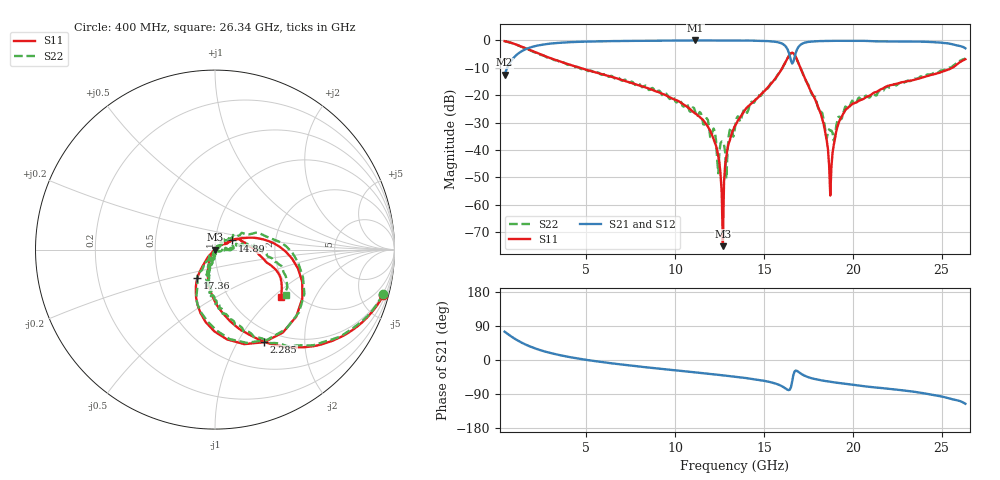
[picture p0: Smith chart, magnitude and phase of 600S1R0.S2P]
!  American Technical Ceramics  Date:  10/27/06
!  One Norden Lane
!  Huntington Station,  NY.  11746-2102
!  Tel:  (631) 622-4700  Fax:  (631) 622-4748
!  Part Number  600S1R0  Mounting Orientation: Horizontal
!  Description: Ultra Low ESR Microwave capacitors
!  Application: Coupling, Bypass, Tuning, DC Block
!  Filters, Matching
# GHZ S DB R 50
! Freq  |S11|  S11 Ph  |S21|  S21 Ph  |S12|  S12 Ph  |S22|  S22 Ph
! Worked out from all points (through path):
!   400 points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, 400 MHz to 26.34 GHz, reference 50 ohm
!   highest |S21| = 0.00 dB at 11.12 GHz (marker M1); lowest = -12.6 dB at 400 MHz (marker M2)
!   group delay of S21, straight-line fit = 14.4 ps
!   lowest |S11| = -75.1 dB at 12.69 GHz (marker M3), VSWR 1.00, Z = 50 + j0.0127 ohm
!   |S11| at or under -10 dB: 4.641 GHz to 16.03 GHz (11.39 GHz wide, 110 % of centre); 17.05 GHz to 25.59 GHz (8.539 GHz wide, 40.1 % of centre)
!   |S22| runs from -50.4 to -0.3 dB; largest |S21 - S12| = 0.011
!   S11 on the Smith chart (normalised r, x): 400 MHz: 0.83, -7.50; 2.285 GHz: 0.84, -1.29; 14.89 GHz: 1.20, +0.13; 17.36 GHz: 0.79, -0.25; 26.34 GHz: 1.70, -1.13
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0.4  -0.25 -15.0  -12.55 74.7  -12.52 74.3  -0.28 -14.8
2.285  -4.73 -62.1  -1.82 27.9  -1.84 27.6  -4.79 -61.0
4.755  -10.24 -88.2  -0.46 2.1  -0.45 2.3  -10.47 -88.8
9.045  -18.83 -109.7  -0.08 -22.5  -0.07 -22.4  -18.36 -111.2
11.125  -26.64 -118.8  0.00 -32.6  -0.01 -32.7  -25.89 -93.8
12.36  -39.95 -125.7  -0.01 -38.8  -0.01 -39.0  -43.14 -42.4
12.62  -55.66 -132.4  -0.01 -40.2  -0.01 -40.3  -36.92 -42.0
12.685  -75.13 133.7  -0.01 -40.5  -0.01 -40.7  -37.11 -4.0
12.815  -45.46 56.3  0.00 -41.2  -0.01 -41.4  -40.93 63.8
12.88  -42.43 53.6  0.00 -41.5  -0.01 -41.7  -50.43 50.3
13.01  -37.61 52.7  -0.01 -42.3  0.00 -42.4  -35.03 11.8
13.4  -30.81 44.1  -0.02 -44.5  -0.03 -44.6  -30.10 31.6
14.895  -19.28 28.2  -0.16 -54.0  -0.14 -54.3  -19.53 36.1
16.585  -4.48 -50.7  -8.43 -56.8  -8.43 -56.9  -4.53 -48.2
17.365  -14.70 -122.0  -0.69 -43.1  -0.67 -43.5  -14.86 -122.7
17.69  -19.13 -126.8  -0.40 -48.2  -0.37 -48.6  -19.56 -126.3
18.47  -34.32 -136.3  -0.18 -55.6  -0.18 -56.0  -33.68 -97.9
18.73  -56.63 -48.8  -0.15 -57.5  -0.15 -58.0  -32.93 -62.0
18.86  -40.93 37.4  -0.14 -58.4  -0.15 -58.9  -33.77 -15.7
19.25  -29.25 39.4  -0.12 -60.8  -0.12 -61.4  -27.82 6.8
22.045  -16.47 20.8  -0.36 -76.0  -0.37 -76.6  -17.22 13.9
26.335  -6.87 -35.4  -2.87 -115.5  -2.87 -116.1  -6.57 -32.9
